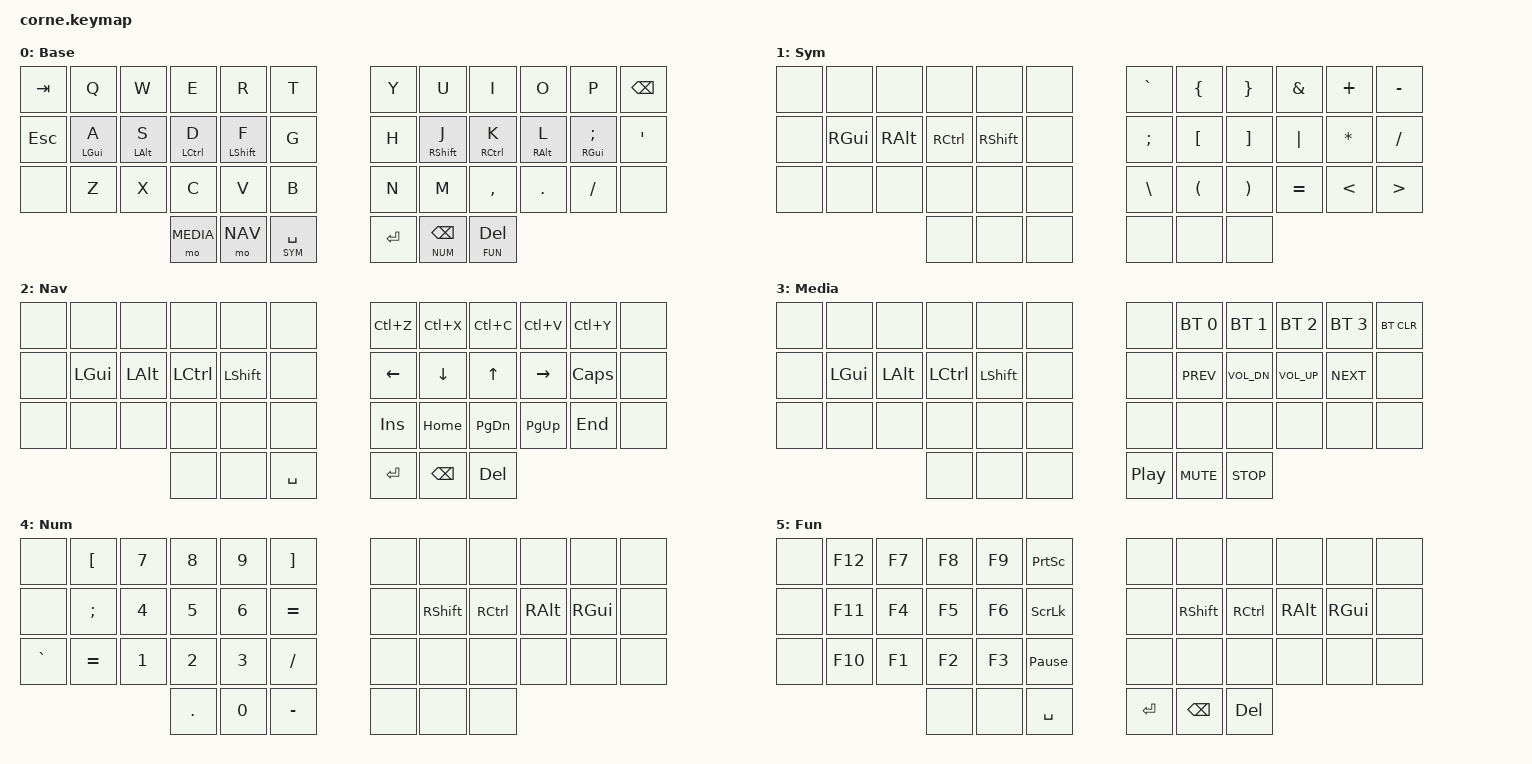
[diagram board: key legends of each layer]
/*
 * Copyright (c) 2020 The ZMK Contributors
 *
 * SPDX-License-Identifier: MIT
 */

#include <behaviors.dtsi>
#include <dt-bindings/zmk/keys.h>
#include <dt-bindings/zmk/bt.h>

#define BASE     0
#define SYM      1
#define NAV      2
#define MEDIA    3
#define NUM      4
#define FUN      5


/ {
    
    behaviors {
        hml: home_row_mod_left {
            compatible = "zmk,behavior-hold-tap";
            #binding-cells = <2>;
            flavor = "balanced";
            require-prior-idle-ms = <150>;
            tapping-term-ms = <280>;
            quick-tap-ms = <175>;
            bindings = <&kp>, <&kp>;
            hold-trigger-key-positions = <6 7 8 9 10 11 18 19 20 21 22 23 30 31 32 33 34 35 39 40 41>;
            hold-trigger-on-release;
        };

        hmr: home_row_mod_right {
            compatible = "zmk,behavior-hold-tap";
            #binding-cells = <2>;
            flavor = "balanced";
            require-prior-idle-ms = <150>;
            tapping-term-ms = <280>;
            quick-tap-ms = <175>;
            bindings = <&kp>, <&kp>;
            hold-trigger-key-positions = <0 1 2 3 4 5 12 13 14 15 16 17 24 25 26 27 28 29 36 37 38>;
            hold-trigger-on-release;
        };

        hmr_mo: home_row_mod_right_mo {
            compatible = "zmk,behavior-hold-tap";
            #binding-cells = <2>;
            flavor = "balanced";
            require-prior-idle-ms = <170>;
            tapping-term-ms = <280>;
            quick-tap-ms = <175>;
            bindings = <&mo>, <&kp>;
            hold-trigger-key-positions = <0 1 2 3 4 5 12 13 14 15 16 17 24 25 26 27 28 29 36 37 38>;
            hold-trigger-on-release;
        };

        hml_mo: home_row_mod_left_mo {
            compatible = "zmk,behavior-hold-tap";
            #binding-cells = <2>;
            flavor = "balanced";
            require-prior-idle-ms = <170>;
            tapping-term-ms = <280>;
            quick-tap-ms = <175>;
            bindings = <&mo>, <&kp>;
            hold-trigger-key-positions = <6 7 8 9 10 11 18 19 20 21 22 23 30 31 32 33 34 35 39 40 41>;
            hold-trigger-on-release;
        };
    };

    keymap {
        compatible = "zmk,keymap";

        default_layer {
            display-name = "Base";
            bindings = <
        &kp TAB   &kp Q &kp W &kp E &kp R &kp T   &kp Y &kp U  &kp I   &kp O   &kp P  &kp BSPC
        &kp ESC   &hml LGUI A &hml LALT S &hml LCTRL D &hml LSHFT F &kp G   &kp H &hmr RSHFT J &hmr RCTRL K   &hmr RALT L   &hmr RGUI SEMI &kp SQT
        &none &kp Z &kp X &kp C &kp V &kp B   &kp N &kp M  &kp COMMA &kp DOT &kp FSLH &none
                &mo MEDIA &mo NAV &hml_mo SYM SPC &kp ENTER &hmr_mo NUM BSPC &hmr_mo FUN DEL
            >;
        };

        sym_layer {
            display-name = "Sym";
            bindings = <
         &none    &none      &none      &none     &none      &none          &kp GRAVE &kp LBRC  &kp RBRC  &kp AMPS   &kp PLUS &kp MINUS
         &none    &kp RGUI  &kp RALT   &kp RCTRL  &kp RSHIFT   &none        &kp SEMI  &kp LBKT &kp RBKT &kp PIPE   &kp STAR &kp FSLH
         &none    &none      &none      &none     &none      &none          &kp BSLH  &kp LPAR &kp RPAR   &kp EQUAL &kp LESS_THAN &kp GREATER_THAN  
             &none &none &none                                              &none &none &none
            >;
        };

        nav_layer {
            display-name = "Nav";
            bindings = <
        &none     &none    &none    &none     &none      &none            &kp LC(Z)   &kp LC(X)  &kp LC(C) &kp LC(V) &kp LC(Y) &none  
        &none     &kp LGUI &kp LALT &kp LCTRL &kp LSHIFT &none            &kp LEFT  &kp DOWN   &kp UP     &kp RIGHT &kp CAPS  &none
        &none  &none    &none    &none     &none      &none            &kp INS   &kp HOME   &kp PG_DN  &kp PG_UP  &kp END   &none
                        &none &none    &kp SPC          &kp ENTER &kp BSPC &kp DEL
            >;
        };

        
        media_layer {
            display-name = "Media";
            bindings = <
        &none  &none      &none       &none       &none      &none  &none   &bt BT_SEL 0  &bt BT_SEL 1  &bt BT_SEL 2  &bt BT_SEL 3  &bt BT_CLR
        &none  &kp LGUI    &kp LALT &kp LCTRL &kp LSHIFT &none  &none  &kp C_PREV &kp C_VOL_DN &kp C_VOL_UP &kp C_NEXT &none
        &none  &none       &none  &none &none  &none  &none  &none      &none       &none       &none      &none
                &none  &none  &none  &kp C_PP  &kp C_MUTE &kp C_STOP
                >;
        };

        num_layer {
            display-name = "Num";
            bindings = <
        &none    &kp LBKT  &kp N7 &kp N8 &kp N9 &kp RBKT         &none    &none      &none      &none     &none       &none
        &none    &kp SEMI  &kp N4 &kp N5 &kp N6 &kp EQUAL        &none    &kp RSHIFT &kp RCTRL  &kp RALT  &kp RGUI    &none
        &kp GRAVE    &kp EQUAL &kp N1 &kp N2 &kp N3 &kp FSLH    &none    &none      &none      &none  &none       &none
               &kp DOT &kp N0 &kp MINUS                          &none &none &none
            >;
        };

        fun_layer {
            display-name = "Fun";
            bindings = <
        &none    &kp F12 &kp F7 &kp F8 &kp F9 &kp PRINTSCREEN   &none    &none      &none      &none     &none  &none
        &none    &kp F11 &kp F4 &kp F5 &kp F6 &kp SCROLLLOCK    &none    &kp RSHIFT &kp RCTRL  &kp RALT  &kp RGUI    &none
        &none    &kp F10 &kp F1 &kp F2 &kp F3 &kp PAUSE_BREAK   &none    &none      &none      &none  &none       &none
                &none &none &kp SPC &kp ENTER &kp BSPC &kp DEL
            >;
        };



    };
};
